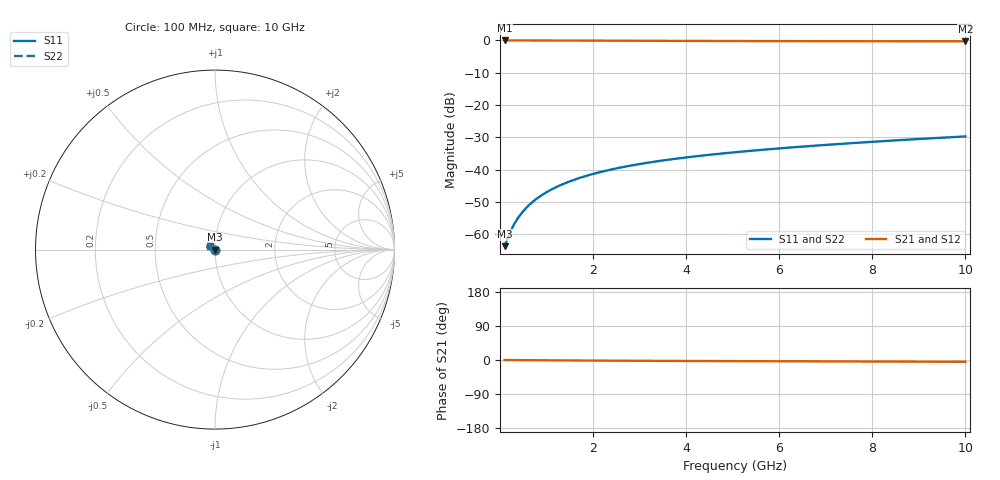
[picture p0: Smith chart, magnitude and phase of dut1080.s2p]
! Touchstone file exported from HFSS 2024.1.0
!  File:  C:/UserFiles/LocalFiles/RDL_TSV_Batchsim/temp_TSV1_1080_1780065490.aedt
!  Generated:  10:42:58 PM May 29, 2026
!  Design:  TSV1
!  Project:  temp_TSV1_1080_1780065490
!  Setup:  Setup1
!  Solution:  Sweep
! Variables:
!  dtsv = 5.05um
!  hbump = 3um
!  htsv = 67.49um
!  lrdl = 252.1521522um
!  p = 40
!  p1 = 45.94um
!  t = 500um
!  trdl = 3um
!  wrdl = 24.89489489um
# GHz S MA R 50.000000
! Terminal data exported
! Port[1] = TSV22_T1
! Port[2] = TSV22_T2
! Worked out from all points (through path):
!   100 points, 100 MHz to 10 GHz, reference 50 ohm
!   highest |S21| = 0.00 dB at 100 MHz (marker M1); lowest = -0.3 dB at 10 GHz (marker M2)
!   lowest |S11| = -63.7 dB at 100 MHz (marker M3), VSWR 1.00, Z = 50 - j0.0462 ohm
!   |S11| at or under -10 dB: start of sweep to end of sweep
!   |S22| runs from -63.7 to -29.7 dB; largest |S21 - S12| = 7.4e-15
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0.1  0.0006562 -44.8  0.9995 -0.1  0.9995 -0.1  0.0006562 -44.8
! Gamma 0 0 0 0
! Port Impedance 50 0 50 0
0.2  0.001009 -66.3  0.9994 -0.2  0.9994 -0.2  0.001009 -66.3
0.3  0.001418 -77.5  0.9993 -0.3  0.9993 -0.3  0.001418 -77.5
0.4  0.001848 -84.6  0.9992 -0.3  0.9992 -0.3  0.001848 -84.6
0.5  0.002286 -89.9  0.999 -0.4  0.999 -0.4  0.002286 -89.9
0.6  0.002727 -94.1  0.9988 -0.5  0.9988 -0.5  0.002727 -94.1
0.7  0.003168 -97.7  0.9985 -0.6  0.9985 -0.6  0.003168 -97.7
0.8  0.003608 -101.0  0.9983 -0.7  0.9983 -0.7  0.003608 -101.0
0.9  0.004046 -104.0  0.998 -0.8  0.998 -0.8  0.004046 -104.0
1  0.004481 -106.9  0.9976 -0.8  0.9976 -0.8  0.004481 -106.9
1.2  0.00534 -112.1  0.9969 -1.0  0.9969 -1.0  0.00534 -112.1
1.5  0.006596 -119.4  0.9957 -1.2  0.9957 -1.2  0.006596 -119.4
1.8  0.00781 -126.1  0.9943 -1.4  0.9943 -1.4  0.00781 -126.1
2.1  0.00898 -132.5  0.9928 -1.6  0.9928 -1.6  0.00898 -132.5
2.5  0.01047 -140.3  0.9908 -1.9  0.9908 -1.9  0.01047 -140.3
2.9  0.01189 -147.6  0.9887 -2.1  0.9887 -2.1  0.01189 -147.6
3.4  0.01357 -156.0  0.9862 -2.3  0.9862 -2.3  0.01357 -156.0
4.2  0.01609 -167.8  0.9826 -2.7  0.9826 -2.7  0.01609 -167.8
5.1  0.01877 -179.0  0.9792 -3.0  0.9792 -3.0  0.01877 -179.0
6.7  0.02333 165.1  0.9747 -3.6  0.9747 -3.6  0.02333 165.1
8.4  0.02814 152.5  0.9714 -4.1  0.9714 -4.1  0.02814 152.5
10  0.03274 143.4  0.969 -4.7  0.969 -4.7  0.03274 143.4
